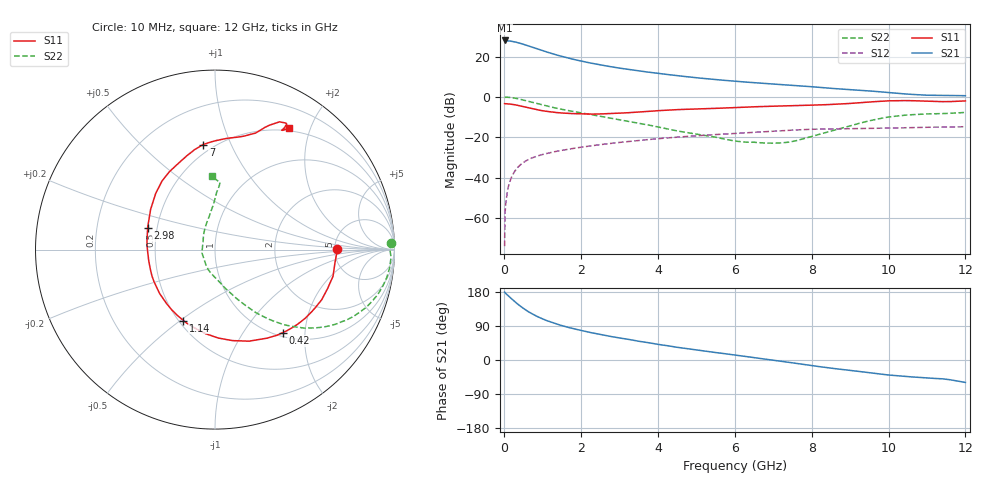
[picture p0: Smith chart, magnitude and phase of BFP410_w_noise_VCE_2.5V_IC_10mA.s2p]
! Infineon Technologies  Discrete & RF Semiconductors
! BFP410
! VCE =  2.5 V,  IC =  10 mA
! Common Emitter S-Parameters:  Nov 2015
# GHz  S  MA  R  50
!  f  S11  S21  S12  S22
! GHz  MAG  ANG  MAG  ANG  MAG  ANG  MAG  ANG
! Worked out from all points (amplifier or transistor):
!   243 points, 10 MHz to 12 GHz, reference 50 ohm
!   highest |S21| = 28.0 dB at 10 MHz (marker M1)
!   |S21| within 3 dB of that: start of sweep to 676 MHz
!   unconditionally stable (mu >= 1): start of sweep to 12.22 MHz; 2.415 GHz to end of sweep
!   at 240 MHz: K = 0.16, MSG = 32.6 dB, |S12| = -37.9 dB
!   at 1.84 GHz: K = 0.85, MSG = 21.9 dB, |S12| = -25.4 dB
!   at 12 GHz: K = 1.04, MAG = 6.4 dB, |S12| = -14.8 dB
!   lowest NFmin = 1.28 dB at 900 MHz
!   S11 on the Smith chart (normalised r, x): 10 MHz: 5.23, +0.05; 420 MHz: 1.07, -1.54; 1.14 GHz: 0.53, -0.51; 2.98 GHz: 0.44, +0.13; 7 GHz: 0.44, +0.79; 12 GHz: 0.46, +1.69
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0.01  0.679 0.2  24.99 179.2  0.0002 -176.0  0.9793 2.3
0.02  0.6784 -1.8  24.87 177.6  0.0012 87.8  0.9748 -0.2
0.055  0.6721 -6.6  24.62 174.0  0.0031 87.1  0.9814 -2.9
0.15  0.664 -18.9  24.19 165.2  0.0081 81.5  0.9695 -9.3
0.24  0.6462 -29.9  23.33 157.0  0.0127 76.9  0.9437 -14.8
0.34  0.6206 -41.9  22.24 148.4  0.0174 72.1  0.9053 -20.4
0.42  0.597 -50.9  21.18 142.1  0.0207 68.8  0.8706 -24.2
0.5  0.5726 -59.5  20.1 136.1  0.0238 66.0  0.834 -27.9
0.6  0.5443 -69.6  18.7 129.1  0.0271 62.8  0.7883 -31.9
0.8  0.4934 -87.7  16.12 117.7  0.0327 58.0  0.7027 -38.4
1  0.4529 -104.1  13.94 108.3  0.0374 54.8  0.6275 -43.5
1.14  0.4325 -114.0  12.65 102.7  0.0404 53.1  0.5833 -46.4
1.34  0.4109 -127.0  11.09 95.6  0.0443 51.2  0.5282 -49.8
1.56  0.3953 -139.4  9.715 89.0  0.0484 49.7  0.4785 -53.0
2.02  0.3775 -161.6  7.639 77.6  0.0569 47.0  0.3992 -58.2
2.98  0.3941 162.3  5.189 58.5  0.074 41.2  0.2729 -68.7
4.1  0.4596 134.7  3.723 39.9  0.0939 33.8  0.1721 -84.6
6.1  0.547 106.4  2.401 11.7  0.1258 18.8  0.0784 -144.8
7  0.5892 96.4  2.08 -0.7  0.1413 11.7  0.0714 172.8
8.2  0.6321 80.8  1.719 -17.5  0.1584 -0.9  0.1182 120.4
10.2  0.8025 62.0  1.233 -41.3  0.1697 -16.5  0.3335 87.4
12  0.7942 58.6  1.069 -59.2  0.1824 -31.5  0.4112 92.1
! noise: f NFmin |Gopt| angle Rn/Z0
0.45  1.31  0.05  -19  0.16
0.9  1.28  0.04  1  0.16
1.8  1.42  0.03  -159  0.16
2.4  1.4  0.09  -121  0.17
5.5  2.27  0.35  -113  0.27
10  3.42  0.67  -49  1.87
